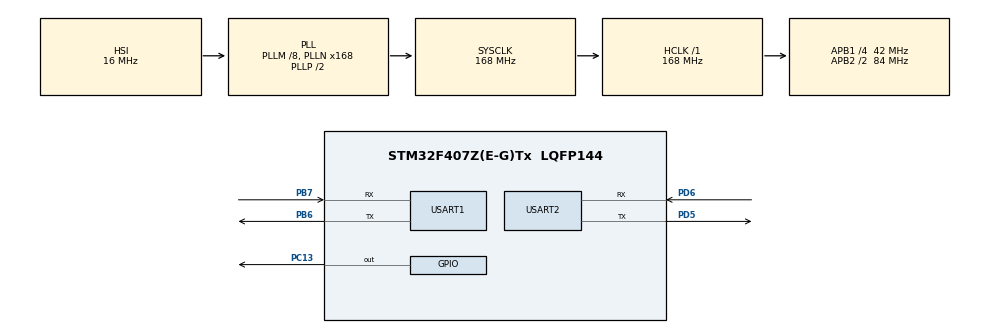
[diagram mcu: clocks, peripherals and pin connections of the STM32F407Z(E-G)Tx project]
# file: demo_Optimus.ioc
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Dma.Request0=USART1_RX
Dma.Request1=USART1_TX
Dma.USART1_RX.0.Direction=DMA_PERIPH_TO_MEMORY
Dma.USART1_RX.0.FIFOMode=DMA_FIFOMODE_DISABLE
Dma.USART1_RX.0.Instance=DMA2_Stream2
Dma.USART1_RX.0.MemDataAlignment=DMA_MDATAALIGN_BYTE
Dma.USART1_RX.0.MemInc=DMA_MINC_ENABLE
Dma.USART1_RX.0.Mode=DMA_NORMAL
Dma.USART1_RX.0.PeriphDataAlignment=DMA_PDATAALIGN_BYTE
Dma.USART1_RX.0.PeriphInc=DMA_PINC_DISABLE
Dma.USART1_RX.0.Priority=DMA_PRIORITY_LOW
Dma.USART1_TX.1.Direction=DMA_MEMORY_TO_PERIPH
Dma.USART1_TX.1.FIFOMode=DMA_FIFOMODE_DISABLE
Dma.USART1_TX.1.Instance=DMA2_Stream7
Dma.USART1_TX.1.MemDataAlignment=DMA_MDATAALIGN_BYTE
Dma.USART1_TX.1.MemInc=DMA_MINC_ENABLE
Dma.USART1_TX.1.Mode=DMA_NORMAL
Dma.USART1_TX.1.PeriphDataAlignment=DMA_PDATAALIGN_BYTE
Dma.USART1_TX.1.PeriphInc=DMA_PINC_DISABLE
Dma.USART1_TX.1.Priority=DMA_PRIORITY_LOW
Mcu.Family=STM32F4
Mcu.Name=STM32F407Z(E-G)Tx
Mcu.Package=LQFP144
NVIC.DMA2_Stream2_IRQn=true\:0\:0\:false\:false\:true\:false\:true
NVIC.DMA2_Stream7_IRQn=true\:0\:0\:false\:false\:true\:false\:true
NVIC.PriorityGroup=NVIC_PRIORITYGROUP_4
PB6.Mode=Asynchronous
PB6.Signal=USART1_TX
PB7.Mode=Asynchronous
PB7.Signal=USART1_RX
PC13-ANTI_TAMP.Signal=GPIO_Output
PD5.Mode=Asynchronous
PD5.Signal=USART2_TX
PD6.Mode=Asynchronous
PD6.Signal=USART2_RX
ProjectManager.HeapSize=0x200
ProjectManager.StackSize=0x400
ProjectManager.TargetToolchain=Makefile
RCC.48MHZClocksFreq_Value=84000000
RCC.AHBFreq_Value=168000000
RCC.APB1CLKDivider=RCC_HCLK_DIV4
RCC.APB1Freq_Value=42000000
RCC.APB1TimFreq_Value=84000000
RCC.APB2CLKDivider=RCC_HCLK_DIV2
RCC.APB2Freq_Value=84000000
RCC.APB2TimFreq_Value=168000000
RCC.CortexFreq_Value=168000000
RCC.HCLKFreq_Value=168000000
RCC.HSE_VALUE=25000000
RCC.HSI_VALUE=16000000
RCC.LSE_VALUE=32768
RCC.PLLM=8
RCC.PLLN=168
RCC.SYSCLKFreq_VALUE=168000000
RCC.SYSCLKSource=RCC_SYSCLKSOURCE_PLLCLK
RCC.VCOOutputFreq_Value=336000000
USART1.VirtualMode=VM_ASYNC
USART2.VirtualMode=VM_ASYNC
board=custom

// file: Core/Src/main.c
/* USER CODE BEGIN Header */
/**
  ******************************************************************************
  * @file           : main.c
  * @brief          : Main program body
  ******************************************************************************
  * @attention
  *
  * <h2><center>&copy; Copyright (c) 2021 STMicroelectronics.
  * All rights reserved.</center></h2>
  *
  * This software component is licensed by ST under BSD 3-Clause license,
  * the "License"; You may not use this file except in compliance with the
  * License. You may obtain a copy of the License at:
  *                        opensource.org/licenses/BSD-3-Clause
  *
  ******************************************************************************
  */
/* USER CODE END Header */
#include "main.h"

/* USER CODE BEGIN PD */
#define START_FRAME (uint16_t)0xABCD // Start frame definition for reliable serial communication with BLDC drivers (16 bit data)
/* USER CODE END PD */

UART_HandleTypeDef huart1;
UART_HandleTypeDef huart2;
DMA_HandleTypeDef hdma_usart1_rx;
DMA_HandleTypeDef hdma_usart1_tx;

/* USER CODE BEGIN PV */
// Global variables for serial communication with BLDC drivers
uint8_t idx = 0;                        // Index for new data pointer
uint16_t bufStartFrame;                 // Buffer Start Frame
uint8_t *p;                             // Pointer declaration for the new received data
uint8_t incomingByte;
uint8_t incomingBytePrev;

uint8_t buff[10] = {0};

typedef struct{
   uint16_t start;
   int16_t  steer;
   int16_t  speed;
   uint16_t checksum;
} SerialBLDCCommand;
SerialBLDCCommand Command;

typedef struct{
   uint16_t start;
   int16_t  cmd1;
   int16_t  cmd2;
   int16_t  speedR_meas;
   int16_t  speedL_meas;
   int16_t  batVoltage;
   int16_t  boardTemp;
   uint16_t cmdLed;
   uint16_t checksum;
} SerialBLDCFeedback;
SerialBLDCFeedback Feedback;
SerialBLDCFeedback NewFeedback;
SerialBLDCFeedback ToPrint;
/* USER CODE END PV */

void SystemClock_Config(void);
static void MX_GPIO_Init(void);
static void MX_DMA_Init(void);
static void MX_USART1_UART_Init(void);
static void MX_USART2_UART_Init(void);
/* USER CODE BEGIN PFP */
// BLDC Serial Communication function prototypes
void Send(int16_t uSteer, int16_t uSpeed);
void Receive();
/* USER CODE END PFP */

/* USER CODE BEGIN 0 */

void HAL_UART_RxCpltCallback(UART_HandleTypeDef *huart)
{
    //HAL_UART_Transmit(&huart2, &incomingByte, sizeof(incomingByte), HAL_MAX_DELAY); // Blocking

    // Since we have received 1byte of data, execute Receive() function to
    // reconstruct package:
    Receive();

    // Tell DMA to receive more data in the same UART (1 byte)
    HAL_UART_Receive_DMA(&huart1, &incomingByte, sizeof(incomingByte));
}

// ########################## SEND ##########################
void Send(int16_t uSteer, int16_t uSpeed)
{
  // Create command
  Command.start    = (uint16_t)START_FRAME;
  Command.steer    = (int16_t)uSteer;
  Command.speed    = (int16_t)uSpeed;
  Command.checksum = (uint16_t)(Command.start ^ Command.steer ^ Command.speed);

  /*
  TODO : Transmit DMA does not work as expected. It only send one byte of data and then stops.
  Does circular mode solve it?
  */
  // Write to Serial
  //HAL_UART_Transmit_DMA(&huart1, (uint8_t *) &Command, sizeof(Command)); //Non-blocking mode with DMA
  HAL_UART_Transmit(&huart1, (uint8_t *) &Command, sizeof(Command), HAL_MAX_DELAY); // Blocking
}

// ########################## RECEIVE ##########################
void Receive()
{
  bufStartFrame	= ((uint16_t)(incomingByte) << 8) | incomingBytePrev;       // Construct the start frame

  // if (bufStartFrame == 0xABCD){
  //   sprintf(buff, "%x\r\n", bufStartFrame);
  //   HAL_UART_Transmit(&huart2, buff, sizeof(buff), HAL_MAX_DELAY); // Blocking
  // }

  // if (incomingByte == 0XAB && incomingBytePrev == 0xCD){
  //   sprintf(buff, "%x\r\n", ((uint16_t)(incomingByte) << 8) | incomingBytePrev);
  //   //sprintf(buff, "%x\r\n", bufStartFrame);
  //   HAL_UART_Transmit(&huart2, buff, sizeof(buff), HAL_MAX_DELAY); // Blocking

  //   if (bufStartFrame == START_FRAME){
  //     HAL_UART_Transmit(&huart2, "OK\r\n", sizeof("OK\r\n"), HAL_MAX_DELAY); // Blocking
  //   }
  // }

  // Copy received data
  if (bufStartFrame == START_FRAME) {	                    // Initialize if new data is detected
    //HAL_UART_Transmit(&huart2, "YES\r\n", sizeof("YES\r\n"), HAL_MAX_DELAY); // Blocking
    p       = (uint8_t *)&NewFeedback;
    *p++    = incomingBytePrev;
    *p++    = incomingByte;
    idx     = 2;
  } else if (idx >= 2 && idx < sizeof(SerialBLDCFeedback)) {  // Save the new received data
    //HAL_UART_Transmit(&huart2, "YES2\r\n", sizeof("YES2\r\n"), HAL_MAX_DELAY); // Blocking
    *p++    = incomingByte;
    idx++;
  }

  // Check if we reached the end of the package
  if (idx == sizeof(SerialBLDCFeedback)) {
    // HAL_UART_Transmit(&huart2, "YES2\r\n", sizeof("YES2\r\n"), HAL_MAX_DELAY); // Blocking

    uint16_t checksum;
    checksum = (uint16_t)(NewFeedback.start ^ NewFeedback.cmd1 ^ NewFeedback.cmd2 ^ NewFeedback.speedR_meas ^ NewFeedback.speedL_meas
                          ^ NewFeedback.batVoltage ^ NewFeedback.boardTemp ^ NewFeedback.cmdLed);

    // Check validity of the new data
    if (NewFeedback.start == START_FRAME && checksum == NewFeedback.checksum) {
      // Copy the new data
      memcpy(&Feedback, &NewFeedback, sizeof(SerialBLDCFeedback));

      // sprintf(buff, "CMD1: %d, CMD2: %d, Speed1: %d, Speed2: %d, BatteryVol: %d, BoardTemp: %d\r\n", Feedback.cmd1, Feedback.cmd2,
      // Feedback.speedR_meas, Feedback.speedL_meas, Feedback.batVoltage, Feedback.boardTemp);

      // // Print data to built-in Serial
      // HAL_UART_Transmit(&huart2, buff, sizeof(buff), HAL_MAX_DELAY); // Blocking
    } else {
      HAL_UART_Transmit(&huart2, "Non-valid data skipped", sizeof("Non-valid data skipped"), HAL_MAX_DELAY); // Blocking
    }
    idx = 0;    // Reset the index (it prevents to enter in this if condition in the next cycle)
  }

  // Update previous states
  incomingBytePrev = incomingByte;
}
/* USER CODE END 0 */

int main(void)
{

  /* MCU Configuration--------------------------------------------------------*/

  /* Reset of all peripherals, Initializes the Flash interface and the Systick. */
  HAL_Init();

  /* Configure the system clock */
  SystemClock_Config();

  /* Initialize all configured peripherals */
  MX_GPIO_Init();
  MX_DMA_Init();
  MX_USART1_UART_Init();
  MX_USART2_UART_Init();

  /* Infinite loop */
  /* USER CODE BEGIN WHILE */

  // Receive data from UART (1 byte) and store in buffer.
  // HAL_UART_RxCpltCallback will be called when 1 byte has been received.
  HAL_UART_Receive_DMA(&huart1, &incomingByte, sizeof(incomingByte));

  HAL_UART_Transmit(&huart2, "Receiving Data\r\n", sizeof("Receiving Data\r\n"), HAL_MAX_DELAY); // Blocking

  while (1)
  {
    // Blinking LED
    HAL_GPIO_TogglePin(GPIOC, GPIO_PIN_13);
    HAL_Delay(50);

    Send(0,10);

    memcpy(&ToPrint, &Feedback, sizeof(SerialBLDCFeedback));

    sprintf(buff, "%d, %d\r\n",ToPrint.speedR_meas, ToPrint.speedL_meas);

    // Print data to built-in Serial
    HAL_UART_Transmit(&huart2, buff, sizeof(buff), HAL_MAX_DELAY); // Blocking

    /* USER CODE END WHILE */

  }
}

void SystemClock_Config(void)
{
  RCC_OscInitTypeDef RCC_OscInitStruct = {0};
  RCC_ClkInitTypeDef RCC_ClkInitStruct = {0};

  /** Configure the main internal regulator output voltage
  */
  __HAL_RCC_PWR_CLK_ENABLE();
  __HAL_PWR_VOLTAGESCALING_CONFIG(PWR_REGULATOR_VOLTAGE_SCALE1);
  /** Initializes the RCC Oscillators according to the specified parameters
  * in the RCC_OscInitTypeDef structure.
  */
  RCC_OscInitStruct.OscillatorType = RCC_OSCILLATORTYPE_HSI;
  RCC_OscInitStruct.HSIState = RCC_HSI_ON;
  RCC_OscInitStruct.HSICalibrationValue = RCC_HSICALIBRATION_DEFAULT;
  RCC_OscInitStruct.PLL.PLLState = RCC_PLL_ON;
  RCC_OscInitStruct.PLL.PLLSource = RCC_PLLSOURCE_HSI;
  RCC_OscInitStruct.PLL.PLLM = 8;
  RCC_OscInitStruct.PLL.PLLN = 168;
  RCC_OscInitStruct.PLL.PLLP = RCC_PLLP_DIV2;
  RCC_OscInitStruct.PLL.PLLQ = 4;
  if (HAL_RCC_OscConfig(&RCC_OscInitStruct) != HAL_OK)
  {
    Error_Handler();
  }
  /** Initializes the CPU, AHB and APB buses clocks
  */
  RCC_ClkInitStruct.ClockType = RCC_CLOCKTYPE_HCLK|RCC_CLOCKTYPE_SYSCLK
                              |RCC_CLOCKTYPE_PCLK1|RCC_CLOCKTYPE_PCLK2;
  RCC_ClkInitStruct.SYSCLKSource = RCC_SYSCLKSOURCE_PLLCLK;
  RCC_ClkInitStruct.AHBCLKDivider = RCC_SYSCLK_DIV1;
  RCC_ClkInitStruct.APB1CLKDivider = RCC_HCLK_DIV4;
  RCC_ClkInitStruct.APB2CLKDivider = RCC_HCLK_DIV2;

  if (HAL_RCC_ClockConfig(&RCC_ClkInitStruct, FLASH_LATENCY_5) != HAL_OK)
  {
    Error_Handler();
  }
}

static void MX_USART1_UART_Init(void)
{

  huart1.Instance = USART1;
  huart1.Init.BaudRate = 115200;
  huart1.Init.WordLength = UART_WORDLENGTH_8B;
  huart1.Init.StopBits = UART_STOPBITS_1;
  huart1.Init.Parity = UART_PARITY_NONE;
  huart1.Init.Mode = UART_MODE_TX_RX;
  huart1.Init.HwFlowCtl = UART_HWCONTROL_NONE;
  huart1.Init.OverSampling = UART_OVERSAMPLING_16;
  if (HAL_UART_Init(&huart1) != HAL_OK)
  {
    Error_Handler();
  }

}

static void MX_USART2_UART_Init(void)
{

  huart2.Instance = USART2;
  huart2.Init.BaudRate = 115200;
  huart2.Init.WordLength = UART_WORDLENGTH_8B;
  huart2.Init.StopBits = UART_STOPBITS_1;
  huart2.Init.Parity = UART_PARITY_NONE;
  huart2.Init.Mode = UART_MODE_TX_RX;
  huart2.Init.HwFlowCtl = UART_HWCONTROL_NONE;
  huart2.Init.OverSampling = UART_OVERSAMPLING_16;
  if (HAL_UART_Init(&huart2) != HAL_OK)
  {
    Error_Handler();
  }

}

static void MX_DMA_Init(void)
{

  /* DMA controller clock enable */
  __HAL_RCC_DMA2_CLK_ENABLE();

  /* DMA interrupt init */
  /* DMA2_Stream2_IRQn interrupt configuration */
  HAL_NVIC_SetPriority(DMA2_Stream2_IRQn, 0, 0);
  HAL_NVIC_EnableIRQ(DMA2_Stream2_IRQn);
  /* DMA2_Stream7_IRQn interrupt configuration */
  HAL_NVIC_SetPriority(DMA2_Stream7_IRQn, 0, 0);
  HAL_NVIC_EnableIRQ(DMA2_Stream7_IRQn);

}

static void MX_GPIO_Init(void)
{
  GPIO_InitTypeDef GPIO_InitStruct = {0};

  /* GPIO Ports Clock Enable */
  __HAL_RCC_GPIOC_CLK_ENABLE();
  __HAL_RCC_GPIOD_CLK_ENABLE();
  __HAL_RCC_GPIOB_CLK_ENABLE();

  /*Configure GPIO pin Output Level */
  HAL_GPIO_WritePin(GPIOC, GPIO_PIN_13, GPIO_PIN_RESET);

  /*Configure GPIO pin : PC13 */
  GPIO_InitStruct.Pin = GPIO_PIN_13;
  GPIO_InitStruct.Mode = GPIO_MODE_OUTPUT_PP;
  GPIO_InitStruct.Pull = GPIO_NOPULL;
  GPIO_InitStruct.Speed = GPIO_SPEED_FREQ_LOW;
  HAL_GPIO_Init(GPIOC, &GPIO_InitStruct);

}

void Error_Handler(void)
{
  __disable_irq();
  while (1)
  {
  }
}

/************************ (C) COPYRIGHT STMicroelectronics *****END OF FILE****/
